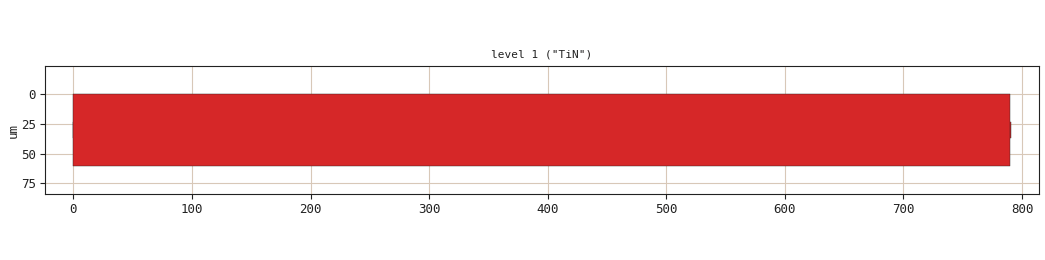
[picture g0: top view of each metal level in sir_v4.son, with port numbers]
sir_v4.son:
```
FTYP SONPROJ 15 ! Sonnet Project File
VER 
HEADER
LIC 
DAT 07/22/2026 00:24:47
BUILT_BY_CREATED unknown "unknown version" 07/22/2026 00:24:47
BUILT_BY_SAVED unknown "unknown version"
ANN Created by pysonnet 0.0.4
END HEADER
DIM
CDVY SM
FREQ GHZ
RSVY OHCM
SRES OHSQ
IND NH
LNG UM
ANG DEG
CON /OH
CAP PF
RES OH
END DIM
GEO


SNPANG 45


TMET "Free Space" 0 FREESPACE 376.7303136 0 0 0
BMET "Free Space" 0 FREESPACE 376.7303136 0 0 0
MET "TiN" 1 SUP 0 0 0 12
MET "Nb" 2 SUP 0 0 0 0.1




BOX 2 790.0 60.0 400 400 20 0
1000 1 1 0 0 0 0 "Air"      
0.15 10.3 1 1e-05 0 0 0 "aSi"      
500 9.3 1 0 0 0 0 "Sapphire" A 11.5 1 0 0 0

TECHLAY METAL "Nb"  <UNSPECIFIED> -1 0

0 0 1 N 0 1 1 100 100 0 0 0 Y

END
END

TECHLAY METAL "TiN"  <UNSPECIFIED> -1 0

1 0 0 N 0 1 1 100 100 0 0 0 Y

END
END



POR1 STD 

POLY 80 1
3
1 50 0 0 0 0.0 30.0  
POR1 STD 

POLY 81 1
1
2 50 0 0 0 790.4 30.0  



NUM 8

1 5 -1 N 80 1 1 100 100 0 0 0 Y

TLAYNAM "TiN" INH
0.00000000 22.92500000
45.99000000 22.92500000
45.99000000 37.07500000
0.00000000 37.07500000
0.00000000 22.92500000

END

1 5 -1 N 0 1 1 100 100 0 0 0 Y

TLAYNAM "TiN" INH
45.99000000 29.30500000
212.09000000 29.30500000
212.09000000 30.69500000
45.99000000 30.69500000
45.99000000 29.30500000

END

1 5 -1 N 0 1 1 100 100 0 0 0 Y

TLAYNAM "TiN" INH
212.09000000 22.92500000
301.25000000 22.92500000
301.25000000 37.07500000
212.09000000 37.07500000
212.09000000 22.92500000

END

1 5 -1 N 0 1 1 100 100 0 0 0 Y

TLAYNAM "TiN" INH
301.25000000 29.30500000
489.15000000 29.30500000
489.15000000 30.69500000
301.25000000 30.69500000
301.25000000 29.30500000

END

1 5 -1 N 0 1 1 100 100 0 0 0 Y

TLAYNAM "TiN" INH
489.15000000 22.92500000
578.31000000 22.92500000
578.31000000 37.07500000
489.15000000 37.07500000
489.15000000 22.92500000

END

1 5 -1 N 0 1 1 100 100 0 0 0 Y

TLAYNAM "TiN" INH
578.31000000 29.30500000
744.41000000 29.30500000
744.41000000 30.69500000
578.31000000 30.69500000
578.31000000 29.30500000

END

1 5 -1 N 81 1 1 100 100 0 0 0 Y

TLAYNAM "TiN" INH
744.41000000 22.92500000
790.40000000 22.92500000
790.40000000 37.07500000
744.41000000 37.07500000
744.41000000 22.92500000

END

1 5 -1 N 0 1 1 100 100 0 0 0 Y

TLAYNAM "Nb" INH
0.00000000 0.00000000
0.00000000 60.00000000
790.00000000 60.00000000
790.00000000 0.00000000
0.00000000 0.00000000

ENDEND
END GEO
FREQ
ABS_ENTRY 1.0 16.0

END FREQ
CONTROL
STD
OPTIONS  -d
SUBSPLAM Y 20



SPEED 0

CACHE_ABS 1
TARG_ABS 300
Q_ACC N
DET_ABS_RES False

END CONTROL
OPT
MAX 300
VARS

END

END OPT
VARSWP

END VARSWP

FILEOUT





FOLDER .
END FILEOUT
SUBDIV
MAIN $BASENAME_net.son
REFPLANE A 0


END SUBDIV
QSG
IMPORT NO
EXTRA_METAL NO
UNITS NO
ALIGN NO
REF NO
VIEW_RES NO
METALS NO
USED YES
END QSG
SMDFILES

END SMDFILES
TRANSLATOR

END TRANSLATOR
```
